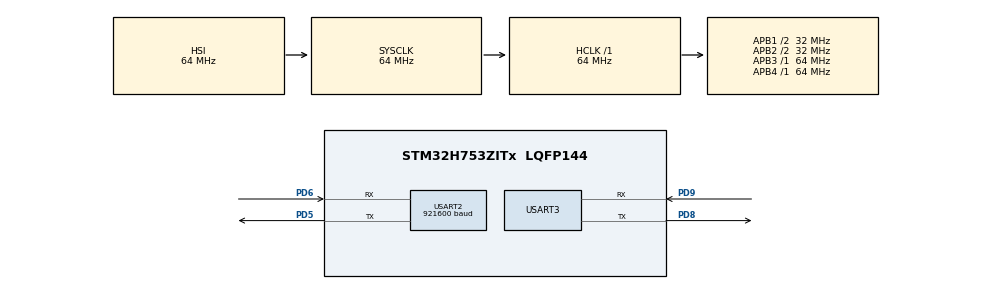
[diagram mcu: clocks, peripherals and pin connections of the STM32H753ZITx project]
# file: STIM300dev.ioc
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CORTEX_M7.default_mode_Activation=1
Dma.Request0=USART2_RX
Dma.USART2_RX.0.Direction=DMA_PERIPH_TO_MEMORY
Dma.USART2_RX.0.EventEnable=DISABLE
Dma.USART2_RX.0.FIFOMode=DMA_FIFOMODE_DISABLE
Dma.USART2_RX.0.Instance=DMA1_Stream1
Dma.USART2_RX.0.MemDataAlignment=DMA_MDATAALIGN_BYTE
Dma.USART2_RX.0.MemInc=DMA_MINC_ENABLE
Dma.USART2_RX.0.Mode=DMA_CIRCULAR
Dma.USART2_RX.0.PeriphDataAlignment=DMA_PDATAALIGN_BYTE
Dma.USART2_RX.0.PeriphInc=DMA_PINC_DISABLE
Dma.USART2_RX.0.Polarity=HAL_DMAMUX_REQ_GEN_RISING
Dma.USART2_RX.0.Priority=DMA_PRIORITY_LOW
Dma.USART2_RX.0.RequestNumber=1
Dma.USART2_RX.0.SignalID=NONE
Dma.USART2_RX.0.SyncEnable=DISABLE
Dma.USART2_RX.0.SyncPolarity=HAL_DMAMUX_SYNC_NO_EVENT
Dma.USART2_RX.0.SyncRequestNumber=1
Dma.USART2_RX.0.SyncSignalID=NONE
FREERTOS.Tasks01=defaultTask,24,1024,StartDefaultTask,Default,NULL,Dynamic,NULL,NULL
FREERTOS.configCHECK_FOR_STACK_OVERFLOW=2
FREERTOS.configTOTAL_HEAP_SIZE=32768
FREERTOS.configUSE_NEWLIB_REENTRANT=1
Mcu.Family=STM32H7
Mcu.Name=STM32H753ZITx
Mcu.Package=LQFP144
NVIC.DMA1_Stream1_IRQn=true\:5\:0\:false\:false\:true\:true\:false\:true\:true
NVIC.PriorityGroup=NVIC_PRIORITYGROUP_4
NVIC.TIM6_DAC_IRQn=true\:15\:0\:false\:false\:true\:false\:false\:true\:true
NVIC.TimeBase=TIM6_DAC_IRQn
NVIC.TimeBaseIP=TIM6
NVIC.USART2_IRQn=true\:5\:0\:false\:false\:true\:true\:true\:true\:true
PD5.Mode=Asynchronous
PD5.Signal=USART2_TX
PD6.Mode=Asynchronous
PD6.Signal=USART2_RX
PD8.Mode=Asynchronous
PD8.Signal=USART3_TX
PD9.Mode=Asynchronous
PD9.Signal=USART3_RX
ProjectManager.HeapSize=0x200
ProjectManager.StackSize=0x400
ProjectManager.TargetToolchain=STM32CubeIDE
RCC.ADCFreq_Value=129000000
RCC.APB1Freq_Value=32000000
RCC.APB2Freq_Value=32000000
RCC.APB3Freq_Value=64000000
RCC.APB4Freq_Value=64000000
RCC.CortexFreq_Value=64000000
RCC.D2PPRE1=RCC_APB1_DIV2
RCC.D2PPRE2=RCC_APB2_DIV2
RCC.HCLKFreq_Value=64000000
RCC.SYSCLKFreq_VALUE=64000000
RCC.USBFreq_Value=129000000
USART2.BaudRate=921600
USART2.VirtualMode-Asynchronous=VM_ASYNC
USART3.VirtualMode-Asynchronous=VM_ASYNC
VP_FREERTOS_VS_CMSIS_V2.Mode=CMSIS_V2
VP_MEMORYMAP_VS_MEMORYMAP.Mode=CurAppReg
VP_SYS_VS_tim6.Mode=TIM6
board=custom

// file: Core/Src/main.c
/* USER CODE BEGIN Header */
/**
  ******************************************************************************
  * @file           : main.c
  * @brief          : Main program body
  ******************************************************************************
  * @attention
  *
  * Copyright (c) 2026 STMicroelectronics.
  * All rights reserved.
  *
  * This software is licensed under terms that can be found in the LICENSE file
  * in the root directory of this software component.
  * If no LICENSE file comes with this software, it is provided AS-IS.
  *
  ******************************************************************************
  */
/* USER CODE END Header */
#include "main.h"
#include "FreeRTOS.h"
#include "cmsis_os2.h"

/* USER CODE BEGIN Includes */
#include <stdio.h>
#include "stim.h"
#include "sensor_msg.h"
/* USER CODE END Includes */

UART_HandleTypeDef huart2;
UART_HandleTypeDef huart3;
DMA_HandleTypeDef hdma_usart2_rx;

/* Definitions for defaultTask */
osThreadId_t defaultTaskHandle;
const osThreadAttr_t defaultTask_attributes = {
  .name = "defaultTask",
  .stack_size = 1024 * 4,
  .priority = (osPriority_t) osPriorityNormal,
};
/* USER CODE BEGIN PV */
osMessageQueueId_t sensor_queue;
/* USER CODE END PV */

void SystemClock_Config(void);
static void MPU_Config(void);
static void MX_GPIO_Init(void);
static void MX_DMA_Init(void);
static void MX_USART3_UART_Init(void);
static void MX_USART2_UART_Init(void);
void StartDefaultTask(void *argument);

/* USER CODE BEGIN 0 */
// printf ends up here: send each character out USART3 (ST-LINK virtual COM port)
int __io_putchar(int ch)
{
  HAL_UART_Transmit(&huart3, (uint8_t *)&ch, 1, HAL_MAX_DELAY);
  return ch;
}
/* USER CODE END 0 */

int main(void)
{

  /* USER CODE BEGIN 1 */
	//SCnSCB->ACTLR |= SCnSCB_ACTLR_DISDEFWBUF_Msk;   // DEBUG: make bus faults precise
  /* USER CODE END 1 */

  /* MPU Configuration--------------------------------------------------------*/
  MPU_Config();

  /* MCU Configuration--------------------------------------------------------*/

  /* Reset of all peripherals, Initializes the Flash interface and the Systick. */
  HAL_Init();

  /* Configure the system clock */
  SystemClock_Config();

  /* Initialize all configured peripherals */
  MX_GPIO_Init();
  MX_DMA_Init();
  MX_USART3_UART_Init();
  MX_USART2_UART_Init();
  /* USER CODE BEGIN 2 */

  setvbuf(stdout, NULL, _IONBF, 0);       // turn off printf buffering so text appears immediately
  printf("\r\nSTIM300 test start\r\n");   // board booted and printf works
  stim_self_test();                       // CRC and decode checks on a stored test frame
  // STIM reception is started in StartDefaultTask(), once the RTOS is running

  /* USER CODE END 2 */

  /* Init scheduler */
  osKernelInitialize();

  /* USER CODE BEGIN RTOS_QUEUES */
  /* add queues, ... */
  sensor_queue = osMessageQueueNew(64, sizeof(sensor_msg_t), NULL); // 64 is a buffer to help vs ethernet delay. Right now, 64 messages * 104 bytes = 6.5 KB of FreeRTOS heap.
  if (sensor_queue == NULL) printf("sensor_queue: not enough FreeRTOS heap\r\n");
  /* USER CODE END RTOS_QUEUES */

  /* Create the thread(s) */
  /* creation of defaultTask */
  defaultTaskHandle = osThreadNew(StartDefaultTask, NULL, &defaultTask_attributes);

  /* Start scheduler */
  osKernelStart();

  /* We should never get here as control is now taken by the scheduler */

  /* Infinite loop */
  while (1)
  {

    /* USER CODE BEGIN 3 */
	    // unreachable: the scheduler runs the tasks after osKernelStart()
	  }
  /* USER CODE END 3 */
}

void SystemClock_Config(void)
{
  RCC_OscInitTypeDef RCC_OscInitStruct = {0};
  RCC_ClkInitTypeDef RCC_ClkInitStruct = {0};

  /** Supply configuration update enable
  */
  HAL_PWREx_ConfigSupply(PWR_LDO_SUPPLY);

  /** Configure the main internal regulator output voltage
  */
  __HAL_PWR_VOLTAGESCALING_CONFIG(PWR_REGULATOR_VOLTAGE_SCALE3);

  while(!__HAL_PWR_GET_FLAG(PWR_FLAG_VOSRDY)) {}

  /** Initializes the RCC Oscillators according to the specified parameters
  * in the RCC_OscInitTypeDef structure.
  */
  RCC_OscInitStruct.OscillatorType = RCC_OSCILLATORTYPE_HSI;
  RCC_OscInitStruct.HSIState = RCC_HSI_DIV1;
  RCC_OscInitStruct.HSICalibrationValue = RCC_HSICALIBRATION_DEFAULT;
  RCC_OscInitStruct.PLL.PLLState = RCC_PLL_NONE;
  if (HAL_RCC_OscConfig(&RCC_OscInitStruct) != HAL_OK)
  {
    Error_Handler();
  }

  /** Initializes the CPU, AHB and APB buses clocks
  */
  RCC_ClkInitStruct.ClockType = RCC_CLOCKTYPE_HCLK|RCC_CLOCKTYPE_SYSCLK
                              |RCC_CLOCKTYPE_PCLK1|RCC_CLOCKTYPE_PCLK2
                              |RCC_CLOCKTYPE_D3PCLK1|RCC_CLOCKTYPE_D1PCLK1;
  RCC_ClkInitStruct.SYSCLKSource = RCC_SYSCLKSOURCE_HSI;
  RCC_ClkInitStruct.SYSCLKDivider = RCC_SYSCLK_DIV1;
  RCC_ClkInitStruct.AHBCLKDivider = RCC_HCLK_DIV1;
  RCC_ClkInitStruct.APB3CLKDivider = RCC_APB3_DIV1;
  RCC_ClkInitStruct.APB1CLKDivider = RCC_APB1_DIV2;
  RCC_ClkInitStruct.APB2CLKDivider = RCC_APB2_DIV2;
  RCC_ClkInitStruct.APB4CLKDivider = RCC_APB4_DIV1;

  if (HAL_RCC_ClockConfig(&RCC_ClkInitStruct, FLASH_LATENCY_1) != HAL_OK)
  {
    Error_Handler();
  }
}

static void MX_USART2_UART_Init(void)
{

  huart2.Instance = USART2;
  huart2.Init.BaudRate = 921600;
  huart2.Init.WordLength = UART_WORDLENGTH_8B;
  huart2.Init.StopBits = UART_STOPBITS_1;
  huart2.Init.Parity = UART_PARITY_NONE;
  huart2.Init.Mode = UART_MODE_TX_RX;
  huart2.Init.HwFlowCtl = UART_HWCONTROL_NONE;
  huart2.Init.OverSampling = UART_OVERSAMPLING_16;
  huart2.Init.OneBitSampling = UART_ONE_BIT_SAMPLE_DISABLE;
  huart2.Init.ClockPrescaler = UART_PRESCALER_DIV1;
  huart2.AdvancedInit.AdvFeatureInit = UART_ADVFEATURE_NO_INIT;
  if (HAL_UART_Init(&huart2) != HAL_OK)
  {
    Error_Handler();
  }
  if (HAL_UARTEx_SetTxFifoThreshold(&huart2, UART_TXFIFO_THRESHOLD_1_8) != HAL_OK)
  {
    Error_Handler();
  }
  if (HAL_UARTEx_SetRxFifoThreshold(&huart2, UART_RXFIFO_THRESHOLD_1_8) != HAL_OK)
  {
    Error_Handler();
  }
  if (HAL_UARTEx_DisableFifoMode(&huart2) != HAL_OK)
  {
    Error_Handler();
  }

}

static void MX_USART3_UART_Init(void)
{

  huart3.Instance = USART3;
  huart3.Init.BaudRate = 115200;
  huart3.Init.WordLength = UART_WORDLENGTH_8B;
  huart3.Init.StopBits = UART_STOPBITS_1;
  huart3.Init.Parity = UART_PARITY_NONE;
  huart3.Init.Mode = UART_MODE_TX_RX;
  huart3.Init.HwFlowCtl = UART_HWCONTROL_NONE;
  huart3.Init.OverSampling = UART_OVERSAMPLING_16;
  huart3.Init.OneBitSampling = UART_ONE_BIT_SAMPLE_DISABLE;
  huart3.Init.ClockPrescaler = UART_PRESCALER_DIV1;
  huart3.AdvancedInit.AdvFeatureInit = UART_ADVFEATURE_NO_INIT;
  if (HAL_UART_Init(&huart3) != HAL_OK)
  {
    Error_Handler();
  }
  if (HAL_UARTEx_SetTxFifoThreshold(&huart3, UART_TXFIFO_THRESHOLD_1_8) != HAL_OK)
  {
    Error_Handler();
  }
  if (HAL_UARTEx_SetRxFifoThreshold(&huart3, UART_RXFIFO_THRESHOLD_1_8) != HAL_OK)
  {
    Error_Handler();
  }
  if (HAL_UARTEx_DisableFifoMode(&huart3) != HAL_OK)
  {
    Error_Handler();
  }

}

static void MX_DMA_Init(void)
{

  /* DMA controller clock enable */
  __HAL_RCC_DMA1_CLK_ENABLE();

  /* DMA interrupt init */
  /* DMA1_Stream1_IRQn interrupt configuration */
  HAL_NVIC_SetPriority(DMA1_Stream1_IRQn, 5, 0);
  HAL_NVIC_EnableIRQ(DMA1_Stream1_IRQn);

}

static void MX_GPIO_Init(void)
{

  /* GPIO Ports Clock Enable */
  __HAL_RCC_GPIOD_CLK_ENABLE();

}

/* USER CODE BEGIN 4 */

// Called by HAL (from interrupt) on DMA half-full, DMA full, and UART idle line
void HAL_UARTEx_RxEventCallback(UART_HandleTypeDef *huart, uint16_t pos)
{
  if (huart->Instance == USART2) stim_on_rx_event(pos);
}

// Any UART error stops reception in HAL: count it and restart the USART instance
void HAL_UART_ErrorCallback(UART_HandleTypeDef *huart)
{
  if (huart->Instance == USART2) stim_on_uart_error();
}

/* USER CODE END 4 */

void StartDefaultTask(void *argument)
{
  /* USER CODE BEGIN 5 */
	  stim_start(&huart2);   // start STIM reception now that the RTOS is running

	  while (stim_get_frame_count() == 0) osDelay(10);   // wait until the STIM is in Normal Mode
	  stim_configure();                                  // apply our settings via Service Mode (Our stim300 is older and does not have Utility Mode)
	  printf("STIM configured\r\n");

	  // This loop is purely for debugging. Prints into terminal every second.
	  stim_stats_t prev = {0};
	    for (;;)
	    {
	      osDelay(1000);   // sleep 1 s

	      stim_stats_t now;
	      stim_sample_t s;
	      stim_get_stats(&now);
	      stim_get_latest(&s);

	      printf("STIM: %lu bytes/s, %lu frames/s, crc errors: %lu, uart errors: %lu\r\n",
	             (unsigned long)(now.bytes - prev.bytes), (unsigned long)(now.frames - prev.frames),
	             (unsigned long)now.crc_errors, (unsigned long)now.uart_errors);
	      printf("  accZ %ld  inclZ %ld  gyroT_X %d  lat %u  cnt %u  valid %u\r\n",
	             (long)s.accel.z, (long)s.incl.z, (int)s.gyro_temp.x,
	             (unsigned)s.latency_us, (unsigned)s.counter, (unsigned)s.valid);
	      prev = now;
	    }

  /* USER CODE END 5 */
}

 /* MPU Configuration */

void MPU_Config(void)
{
  MPU_Region_InitTypeDef MPU_InitStruct = {0};

  /* Disables the MPU */
  HAL_MPU_Disable();

  /** Initializes and configures the Region and the memory to be protected
  */
  MPU_InitStruct.Enable = MPU_REGION_ENABLE;
  MPU_InitStruct.Number = MPU_REGION_NUMBER0;
  MPU_InitStruct.BaseAddress = 0x0;
  MPU_InitStruct.Size = MPU_REGION_SIZE_4GB;
  MPU_InitStruct.SubRegionDisable = 0x87;
  MPU_InitStruct.TypeExtField = MPU_TEX_LEVEL0;
  MPU_InitStruct.AccessPermission = MPU_REGION_NO_ACCESS;
  MPU_InitStruct.DisableExec = MPU_INSTRUCTION_ACCESS_DISABLE;
  MPU_InitStruct.IsShareable = MPU_ACCESS_SHAREABLE;
  MPU_InitStruct.IsCacheable = MPU_ACCESS_NOT_CACHEABLE;
  MPU_InitStruct.IsBufferable = MPU_ACCESS_NOT_BUFFERABLE;

  HAL_MPU_ConfigRegion(&MPU_InitStruct);
  /* Enables the MPU */
  HAL_MPU_Enable(MPU_PRIVILEGED_DEFAULT);

}

void HAL_TIM_PeriodElapsedCallback(TIM_HandleTypeDef *htim)
{
  if (htim->Instance == TIM6)
  {
    HAL_IncTick();
  }
}

void Error_Handler(void)
{
  __disable_irq();
  while (1)
  {
  }
}
